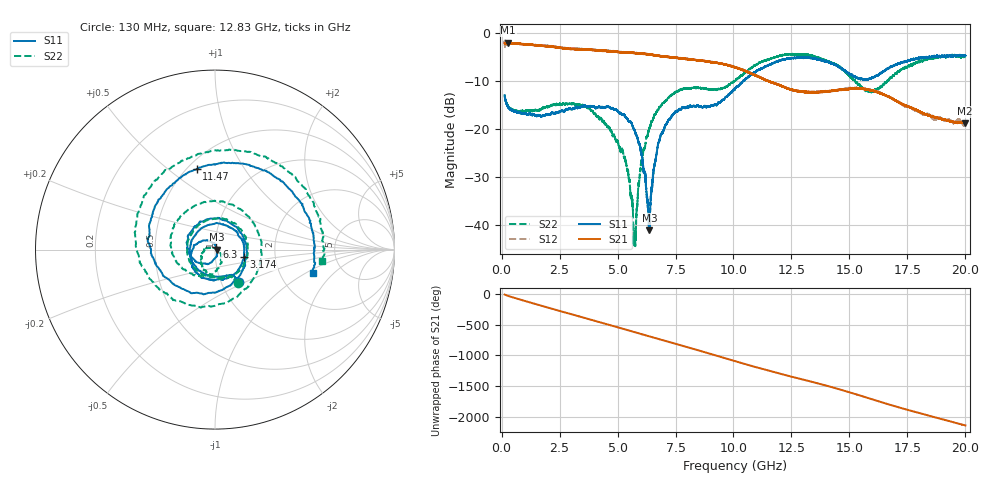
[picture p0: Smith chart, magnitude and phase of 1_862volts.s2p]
!Created with skrf (http://scikit-rf.org).
# GHz S RI R 50.0
!freq ReS11 ImS11 ReS21 ImS21 ReS12 ImS12 ReS22 ImS22
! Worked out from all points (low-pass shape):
!   20013 points, 130 MHz to 20 GHz, reference 50 ohm
!   highest |S21| = -1.96 dB at 281 MHz (marker M1); lowest = -18.8 dB at 19.99 GHz (marker M2)
!   |S21| within 3 dB of the highest: start of sweep to 7.145 GHz; 7.145087 GHz to 7.174696 GHz (29.61 MHz wide, 0.414 % of centre)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
!   lowest |S11| = -41.2 dB at 6.37 GHz (marker M3), VSWR 1.02, Z = 50.9 - j0.00401 ohm
!   |S11| at or under -10 dB: start of sweep to 10.4 GHz; 10.40051 GHz to 10.4028 GHz (2.284 MHz wide, 0.022 % of centre)
!   |S22| runs from -44.4 to -4.3 dB; largest |S21 - S12| = 0.078
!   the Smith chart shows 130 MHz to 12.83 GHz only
!   S11 on the Smith chart (normalised r, x): 130 MHz: 1.21, -0.46; 3.174 GHz: 1.38, -0.11; 6.3 GHz: 1.01, +0.03; 11.47 GHz: 0.56, +0.63; 12.83 GHz: 3.01, -1.12
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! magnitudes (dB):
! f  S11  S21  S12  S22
! 130 MHz  -12.9  -2.1  -2.6  -12.9
! 281 MHz  -15.4  -2.0  -2.0  -15.2
! 3.174 GHz  -15.5  -3.3  -3.2  -14.9
! 3.442 GHz  -15.3  -3.3  -3.3  -15.0
! 4.582 GHz  -15.3  -3.7  -3.7  -19.6
! 5.247 GHz  -17.0  -3.9  -3.9  -25.0
! 5.447 GHz  -18.1  -4.0  -4.0  -28.7
! 5.745 GHz  -20.4  -4.1  -4.1  -41.8
! 6.031 GHz  -25.2  -4.2  -4.2  -26.8
! 6.3 GHz  -35.8  -4.4  -4.3  -21.3
! 6.37 GHz  -41.2  -4.4  -4.4  -19.8
! 6.754 GHz  -23.0  -4.7  -4.7  -16.0
! 7.497 GHz  -16.4  -5.1  -5.1  -12.3
! 10.06 GHz  -11.6  -7.1  -7.0  -9.9
! 11.47 GHz  -6.8  -9.9  -9.9  -5.5
! 12.83 GHz  -5.1  -12.1  -12.1  -4.4
! 13.38 GHz  -5.2  -12.3  -12.3  -4.7
! 15.77 GHz  -9.6  -11.7  -11.7  -11.7
! 16.69 GHz  -7.3  -13.1  -13.2  -9.9
! 18.37 GHz  -5.0  -17.0  -16.8  -5.4
! 19.99 GHz  -4.6  -18.8  -18.8  -4.7
! 20 GHz  -4.6  -18.7  -18.9  -4.7
